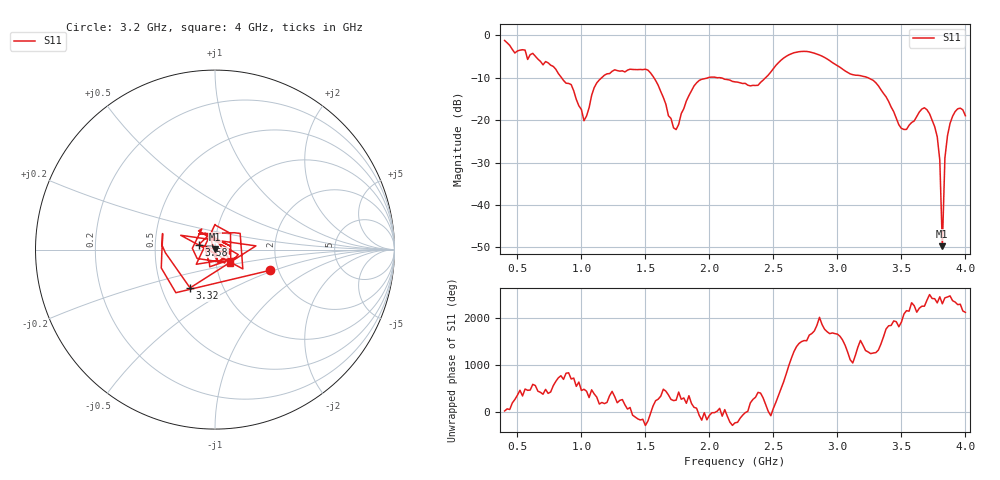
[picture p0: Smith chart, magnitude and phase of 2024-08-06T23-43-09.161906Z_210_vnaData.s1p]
!Created with skrf (http://scikit-rf.org).
# Hz S RI R 50.0
!freq ReS11 ImS11
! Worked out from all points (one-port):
!   181 points, 400 MHz to 4 GHz, reference 50 ohm
!   lowest |S11| = -49.7 dB at 3.82 GHz (marker M1), VSWR 1.01, Z = 49.7 + j0.207 ohm
!   |S11| at or under -10 dB: 1.567 GHz to 1.988 GHz (421.5 MHz wide, 23.7 % of centre); 2.087 GHz to 2.439 GHz (352.1 MHz wide, 15.6 % of centre); 3.24 GHz to end of sweep (the widest 3 of 4)
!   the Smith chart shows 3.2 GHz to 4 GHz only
!   S11 on the Smith chart (normalised r, x): 3.2 GHz: 1.81, -0.47; 3.32 GHz: 0.70, -0.32; 3.58 GHz: 0.83, +0.05; 4 GHz: 1.17, -0.18
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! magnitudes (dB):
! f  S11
! 400 MHz  -1.2
! 860 MHz  -10.6
! 920 MHz  -11.6
! 1.02 GHz  -20.1
! 1.12 GHz  -11.2
! 1.3 GHz  -8.4
! 1.52 GHz  -8.2
! 1.6 GHz  -11.8
! 1.72 GHz  -21.8
! 1.76 GHz  -21.0
! 1.92 GHz  -10.6
! 2.2 GHz  -11.0
! 2.38 GHz  -11.8
! 2.66 GHz  -4.1
! 3.1 GHz  -9.1
! 3.2 GHz  -9.7
! 3.32 GHz  -11.9
! 3.5 GHz  -21.9
! 3.56 GHz  -21.2
! 3.58 GHz  -20.5
! 3.68 GHz  -17.1
! 3.78 GHz  -23.9
! 3.8 GHz  -29.4
! 3.82 GHz  -49.7
! 3.84 GHz  -28.9
! 3.86 GHz  -23.7
! 3.92 GHz  -18.0
! 4 GHz  -18.9
